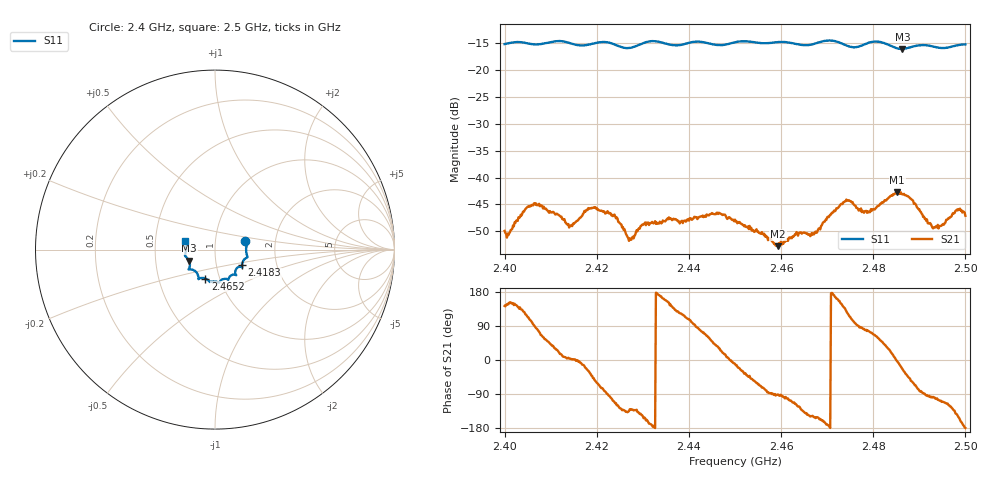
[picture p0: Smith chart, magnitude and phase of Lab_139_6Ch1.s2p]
# Hz S RI R 50
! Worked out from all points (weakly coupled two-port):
!   601 points, 2.4 GHz to 2.5 GHz, reference 50 ohm
!   highest |S21| = -42.74 dB at 2.4852 GHz (marker M1); lowest = -52.8 dB at 2.4593 GHz (marker M2)
!   lowest |S11| = -16.1 dB at 2.4863 GHz (marker M3), VSWR 1.37, Z = 37.1 - j4.7 ohm
!   |S11| at or under -10 dB: start of sweep to end of sweep
!   S12 and S22 are empty: the file has one direction only
!   S11 on the Smith chart (normalised r, x): 2.4 GHz: 1.40, +0.13; 2.4183 GHz: 1.33, -0.24; 2.4652 GHz: 0.85, -0.28; 2.5 GHz: 0.71, +0.07
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2.4e9  0.168 0.0467  -0.00254 0.00193  0 0  0 0
2.406333e9  0.1733 0.00526  -0.000252 0.00572  0 0  0 0
2.414167e9  0.1716 -0.0476  0.00353 0.000197  0 0  0 0
2.416667e9  0.1549 -0.0678  0.00427 -0.00069  0 0  0 0
2.418333e9  0.1497 -0.0863  0.00439 -0.00263  0 0  0 0
2.424e9  0.143 -0.0955  -0.00177 -0.00397  0 0  0 0
2.427167e9  0.1175 -0.1093  -0.00175 -0.00208  0 0  0 0
2.43e9  0.1135 -0.1365  -0.0031 -0.00188  0 0  0 0
2.433333e9  0.1172 -0.1414  -0.0037 0.000475  0 0  0 0
2.4465e9  0.0491 -0.1634  0.00403 0.00241  0 0  0 0
2.45e9  0.0257 -0.1796  0.00399 -0.000715  0 0  0 0
2.459333e9  -0.0245 -0.1802  -4.13e-05 -0.0023  0 0  0 0
2.465167e9  -0.0544 -0.1611  -0.00233 -0.00201  0 0  0 0
2.466667e9  -0.0708 -0.1576  -0.00258 -0.00161  0 0  0 0
2.474e9  -0.0947 -0.1419  -0.00408 0.00442  0 0  0 0
2.478833e9  -0.1402 -0.1101  0.00103 0.00474  0 0  0 0
2.483333e9  -0.1414 -0.0971  0.00569 0.00313  0 0  0 0
2.485167e9  -0.1402 -0.0757  0.00728 -0.000334  0 0  0 0
2.486333e9  -0.1443 -0.0617  0.0064 -0.00277  0 0  0 0
2.493167e9  -0.1637 -0.0184  -0.000514 -0.00339  0 0  0 0
2.498333e9  -0.1658 0.038  -0.00416 -0.00267  0 0  0 0
2.5e9  -0.1666 0.0477  -0.00441 -4.14e-05  0 0  0 0
